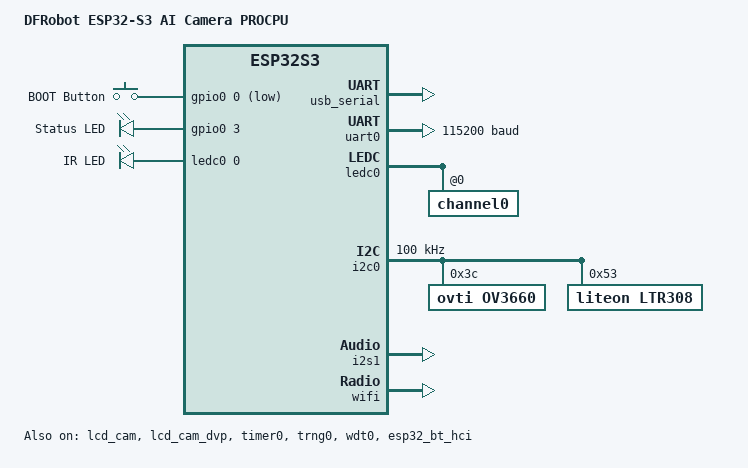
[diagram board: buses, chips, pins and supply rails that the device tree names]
/*
 * Copyright (c) 2026 Richard Osterloh <richard.osterloh@gmail.com>
 * SPDX-License-Identifier: Apache-2.0
 */
/dts-v1/;

#include <espressif/esp32s3/esp32s3.dtsi>
#include "dfrobot_esp32s3_ai_cam-pinctrl.dtsi"
#include <espressif/partitions_0x0_default_16M.dtsi>
#include <zephyr/dt-bindings/input/input-event-codes.h>
#include <zephyr/dt-bindings/pwm/pwm.h>

/ {
	compatible = "espressif,esp32s3";
	model = "DFRobot ESP32-S3 AI Camera PROCPU";

	aliases {
		uart-0 = &uart0;
		i2c-0 = &i2c0;
		i2s-tx = &i2s1;
		light-sensor = &ltr308;
		led0 = &status_led;
		sw0 = &boot_button;
		watchdog0 = &wdt0;
	};

	chosen {
		zephyr,sram = &sram1;
		zephyr,console = &usb_serial;
		zephyr,shell-uart = &usb_serial;
		zephyr,flash = &flash0;
		zephyr,code-partition = &slot0_partition;
		zephyr,bt-hci = &esp32_bt_hci;
		zephyr,camera = &lcd_cam_dvp;
	};

	buttons {
		compatible = "gpio-keys";

		boot_button: button_0 {
			gpios = <&gpio0 0 (GPIO_PULL_UP | GPIO_ACTIVE_LOW)>;
			label = "BOOT Button";
			zephyr,code = <INPUT_KEY_0>;
		};
	};

	leds {
		compatible = "gpio-leds";

		status_led: led_0 {
			gpios = <&gpio0 3 GPIO_ACTIVE_HIGH>;
			label = "Status LED";
		};
	};

	pwmleds {
		compatible = "pwm-leds";

		/* 940 nm IR LEDs; the OV3660 has no IR-cut filter. */
		ir_led: ir_led {
			pwms = <&ledc0 0 PWM_HZ(2000) PWM_POLARITY_NORMAL>;
			label = "IR LED";
		};
	};
};

&flash0 {
	reg = <0x0 DT_SIZE_M(16)>;
};

&psram0 {
	size = <DT_SIZE_M(8)>;
};

&usb_serial {
	status = "okay";
};

&uart0 {
	current-speed = <115200>;
	pinctrl-0 = <&uart0_default>;
	pinctrl-names = "default";
	status = "okay";
};

&gpio0 {
	status = "okay";
};

&gpio1 {
	status = "okay";
};

&dma {
	status = "okay";
};

&ledc0 {
	pinctrl-0 = <&ledc0_default>;
	pinctrl-names = "default";
	#address-cells = <1>;
	#size-cells = <0>;
	status = "okay";

	channel0@0 {
		reg = <0x0>;
		timer = <0>;
	};
};

&i2c0 {
	clock-frequency = <I2C_BITRATE_STANDARD>;
	pinctrl-0 = <&i2c0_default>;
	pinctrl-names = "default";
	status = "okay";

	ov3660: ov3660@3c {
		compatible = "ovti,ov3660";
		reg = <0x3c>;

		port {
			ov3660_ep_out: endpoint {
				remote-endpoint-label = "dvp_ep_in";
			};
		};
	};

	ltr308: ltr308@53 {
		compatible = "liteon,ltr308";
		reg = <0x53>;
	};
};

/* MAX98357 class-D amplifier: I2S only, it has no control bus */
&i2s1 {
	pinctrl-0 = <&i2s1_default>;
	pinctrl-names = "default";
	status = "okay";
};

&lcd_cam {
	pinctrl-0 = <&lcd_cam_default>;
	pinctrl-names = "default";
	status = "okay";
};

&lcd_cam_dvp {
	cam-clk = <20000000>;
	/* As Espressif's esp32-camera configures this board */
	invert-vsync;
	source = <&ov3660>;
	status = "okay";

	port {
		dvp_ep_in: endpoint {
			remote-endpoint-label = "ov3660_ep_out";
		};
	};
};

&timer0 {
	status = "okay";
};

&trng0 {
	status = "okay";
};

&wdt0 {
	status = "okay";
};

&esp32_bt_hci {
	status = "okay";
};

&wifi {
	status = "okay";
};
